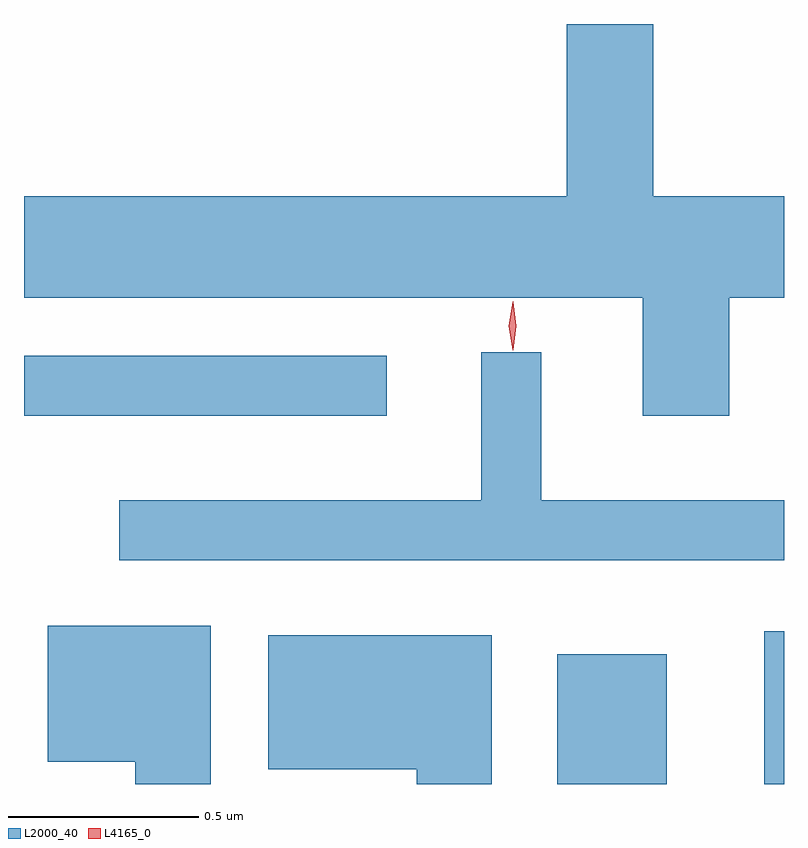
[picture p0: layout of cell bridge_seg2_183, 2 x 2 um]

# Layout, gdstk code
import gdstk
lib = gdstk.Library(unit=1e-6, precision=1e-09)
def R(c, l, rs):  # rectangles x0, y0, x1, y1
    for r in rs: c.add(gdstk.rectangle(r[:2], r[2:], *l))
def P(c, l, *ps):  # polygons
    for p in ps: c.add(gdstk.Polygon(p, *l))
L2000_40 = (2000, 40)
L4165_0 = (4165, 0)

bridge_seg2_183 = lib.new_cell('bridge_seg2_183')
R(bridge_seg2_183, L2000_40, [(708.506,989.317,708.794,989.659), (709.051,989.317,709.103,989.719), (707.103,990.286,708.058,990.444)])
P(bridge_seg2_183, L2000_40, [(708.959,990.596),(709.103,990.596),(709.103,990.864),(708.759,990.864),(708.759,991.317),(708.531,991.317),(708.531,990.864),(707.103,990.864),(707.103,990.596),(708.731,990.596),(708.731,990.286),(708.959,990.286)],
  [(709.103,990.064),(708.464,990.064),(708.464,990.453),(708.306,990.453),(708.306,990.064),(707.353,990.064),(707.353,989.906),(709.103,989.906)],
  [(707.594,989.734),(707.166,989.734),(707.166,989.376),(707.396,989.376),(707.396,989.317),(707.594,989.317)],
  [(708.334,989.709),(707.746,989.709),(707.746,989.356),(708.136,989.356),(708.136,989.317),(708.334,989.317)])
P(bridge_seg2_183, L4165_0, [(708.389,990.458),(708.389,990.458),(708.379,990.522),(708.389,990.586),(708.39,990.587),(708.39,990.586),(708.399,990.522),(708.39,990.458)])

lib.write_gds('bridge_seg2_183.gds')
